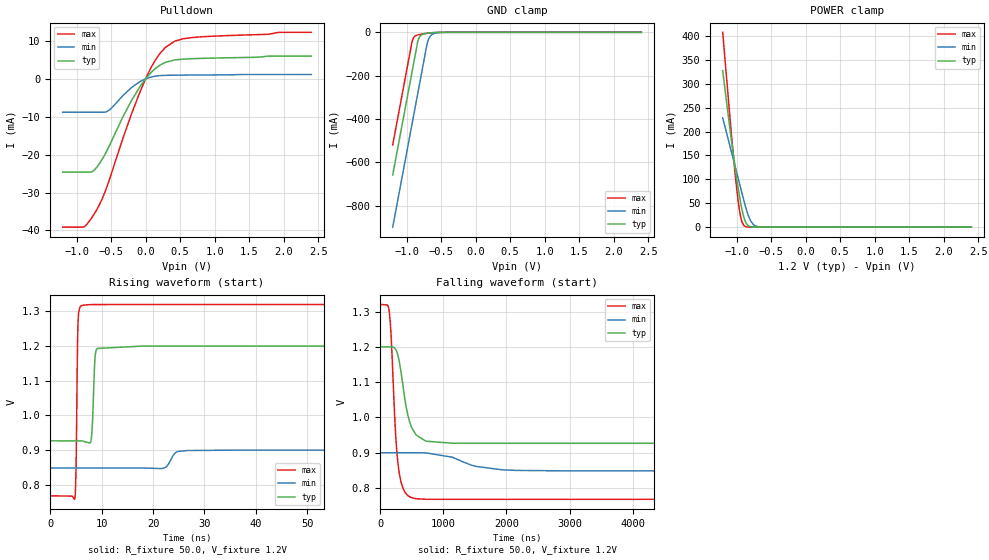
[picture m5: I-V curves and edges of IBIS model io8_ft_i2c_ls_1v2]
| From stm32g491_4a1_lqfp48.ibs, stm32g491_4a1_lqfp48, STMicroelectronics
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[Model]   io8_ft_i2c_ls_1v2
Model_type I/O_open_drain
Polarity   Non-Inverting
Enable   Active-Low
| CAP_THRESHOLD on pad IOFT is "UDTCAPC" :
| Rising=30.0% of vddiom   Falling=70.0% of vddiom
| C_comp min and max val. don't necessarily correlate with the min and max pvt
| but are the smallest and greatest pad capacitance found.
| var   typ   min   max
C_comp   2.04020pF  1.89085pF  2.07595pF
|C_comp_pulldown   2.04020pF  1.89085pF  2.07595pF
Vinl = 450.0mV
Vinh = 660.0mV
Vmeas = 600.0mV   | Reference voltage for timing measurements
Cref  = 50.0pF   | Timing specification test load capacitance value
Rref  = 1.0MOhm   | Timing specification test load resistance value
Vref  = 660.0mV   | Timing specification test load voltage
[Model Spec]
| TIME_THRESHOLD on pin ZIV12 is "CMOS" :
| Rising=50.0% of vdd   Falling=50.0% of vdd
Vinl 458.70000mV 361.70000mV 499.70000mV
Vinh 728.30000mV 549.30000mV 792.30000mV
| variable   typ   min   max
[Temperature Range] 25.0 125.0 -40.0
| variable   typ   min   max
[Voltage Range] 1.2V 900.0mV 1.32V
| variable   typ   min   max
[POWER Clamp Reference] 1.2V 900.0mV 1.32V
| variable   typ   min   max
[GND Clamp Reference] 0V 0V 0V
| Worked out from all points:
|   slope of the pulldown table from 0 to 0.18 V, typ, clamps not added: 55.2 ohm
|   GND clamp passes 1 mA (typ) near -0.58 V on its own axis
|   POWER clamp passes 1 mA (typ) near -0.80 V on its own axis
|   rising waveform, R_fixture 50.0, V_fixture 1.2V: 20-80 % time 407ps typ, 1.22ns min, 264ps max; typ from 0.927 V to 1.2 V
|   falling waveform, R_fixture 50.0, V_fixture 1.2V: 20-80 % time 164ns typ, 562ns min, 97.8ns max; typ from 1.2 V to 0.927 V
[POWER Clamp]
-1.2V     327.4mA    228.8mA    407.7mA
-1.07V    177.7mA    155.3mA    188.5mA
-1.03V    134.8mA    132.7mA    126.3mA
-990mV    94.58mA    110.1mA    71.25mA
-960mV    67.13mA    93.17mA    38.08mA
-940mV    50.68mA    81.87mA    21.78mA
-910mV    29.83mA    64.92mA    7.377mA
-880mV    14.86mA    48.18mA    2.007mA
-840mV    4.466mA    28.96mA    309.8uA
-780mV    528.8uA    9.884mA    17.79uA
-670mV    8.746uA    604.9uA    93.25nA
2.4V      0A         0A         0A
[GND Clamp]
-1.2V     -658.2mA   -898.9mA   -519.3mA
-930mV    -199.2mA   -439.9mA   -60.33mA
-910mV    -165.2mA   -405.9mA   -33.58mA
-880mV    -114.2mA   -354.9mA   -18.36mA
-840mV    -46.85mA   -286.9mA   -12.24mA
-820mV    -26.85mA   -252.9mA   -10.71mA
-780mV    -11.1mA    -184.9mA   -8.327mA
-700mV    -4.004mA   -51.26mA   -4.515mA
-670mV    -2.946mA   -24.79mA   -3.345mA
-640mV    -2.117mA   -12.56mA   -2.341mA
-440mV    -36.45uA   -184.8uA   -16.55uA
2.4V      304.1pA    36.47nA    206.9pA
| variable   typ   min   max
[Pullup Reference] 1.2V 900.0mV 1.32V
| variable   typ   min   max
[Pulldown Reference] 0V 0V 0V
[Pulldown]
-1.2V     -24.6mA    -8.807mA   -39.12mA
-890mV    -24.6mA    -8.807mA   -39.02mA
-780mV    -24.54mA   -8.807mA   -36.66mA
-710mV    -23.4mA    -8.807mA   -34.61mA
-530mV    -17.87mA   -8.266mA   -26.91mA
-330mV    -10.09mA   -4.455mA   -15.79mA
-80mV     -2.02mA    -710uA     -3.413mA
110mV     2.211mA    605.8uA    3.97mA
290mV     4.374mA    930.4uA    8.331mA
420mV     4.991mA    971.3uA    9.931mA
670mV     5.322mA    1.008mA    10.89mA
2.4V      6mA        1.156mA    12.28mA
[Ramp]
dV/dt_r 163.89086mV/403.91767ps 30.80776mV/1.21762ns 331.1798mV/261.74897ps
dV/dt_f 163.89639mV/163.50513ns 30.81791mV/469.32648ns 331.18383mV/97.79002ns
R_load = 50.0
| Removed startup time: 0s 0s 0s  .
| Removed end time: 79.75ns.
[Rising Waveform]
R_fixture   = 50.0
V_fixture   = 1.2V
V_fixture_min = 900.0mV
V_fixture_max = 1.32V
0s        926.8mV    848.6mV    768mV
4.8ns     926.6mV    848.6mV    762.8mV
5ns       926.6mV    848.6mV    839.9mV
5.3ns     926.6mV    848.6mV    1.203V
5.4ns     926.6mV    848.6mV    1.268V
6.1ns     926.6mV    848.6mV    1.317V
7.95ns    929.8mV    848.6mV    1.32V
8.7ns     1.165V     848.6mV    1.32V
9.15ns    1.193V     848.6mV    1.32V
79.75ns   1.2V       900mV      1.32V
| Removed startup time: 0s 0s 0s  .
| Removed end time: 6.49975us.
[Falling Waveform]
R_fixture   = 50.0
V_fixture   = 1.2V
V_fixture_min = 900.0mV
V_fixture_max = 1.32V
0s        1.2V       900mV      1.32V
140.3ns   1.2V       900mV      1.302V
172.3ns   1.2V       900mV      1.229V
240.8ns   1.194V     900mV      960.3mV
278.5ns   1.176V     900mV      873.2mV
354.8ns   1.096V     900mV      802.1mV
468.5ns   985.8mV    900mV      775mV
722.3ns   932.8mV    899.7mV    768.2mV
1.146us   927mV      887.2mV    768mV
6.5us     926.8mV    848.6mV    768mV
